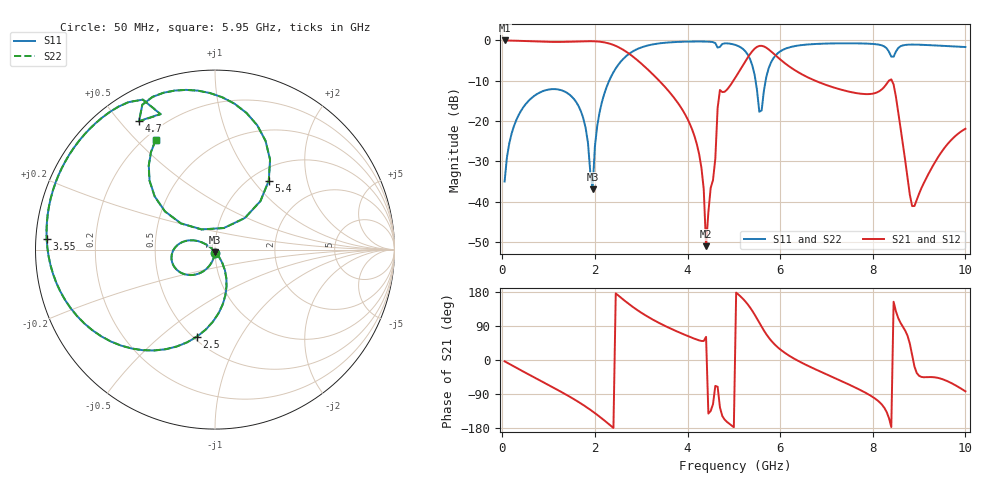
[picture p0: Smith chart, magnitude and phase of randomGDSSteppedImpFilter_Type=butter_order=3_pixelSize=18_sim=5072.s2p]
! freq	dB(S11)	phase(S11)	dB(S12)	phase(S12)
!  dB(S21)	phase(S21)	dB(S22)	phase(S22)
!S-par simulation data
#  GHz  S  DB  R 50
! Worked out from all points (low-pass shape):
!   200 points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, 50 MHz to 10 GHz, reference 50 ohm
!   highest |S21| = -0.01 dB at 50 MHz (marker M1); lowest = -51.1 dB at 4.4 GHz (marker M2)
!   |S21| within 3 dB of the highest: start of sweep to 2.702 GHz; 5.376 GHz to 5.833 GHz (456.1 MHz wide, 8.14 % of centre)
!   lowest |S11| = -36.9 dB at 1.95 GHz (marker M3), VSWR 1.03, Z = 50.1 - j1.42 ohm
!   |S11| at or under -10 dB: start of sweep to 2.308 GHz; 5.469 GHz to 5.686 GHz (217.8 MHz wide, 3.91 % of centre)
!   |S22| runs from -36.8 to -0.3 dB; largest |S21 - S12| = 0
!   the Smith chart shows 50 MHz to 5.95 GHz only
!   S11 on the Smith chart (normalised r, x): 50 MHz: 1.00, -0.04; 2.5 GHz: 0.52, -0.67; 3.55 GHz: 0.03, +0.03; 4.7 GHz: 0.12, +0.56; 5.4 GHz: 1.19, +1.21; 5.95 GHz: 0.24, +0.57
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0.05  -35.00 -93.0  -0.01 -3.4  -0.01 -3.4  -35.00 -93.0
0.25  -21.30 -107.2  -0.06 -16.9  -0.06 -16.9  -21.30 -107.1
0.65  -14.12 -133.8  -0.23 -43.4  -0.23 -43.4  -14.12 -133.8
1.75  -19.36 153.5  -0.22 -118.8  -0.22 -118.8  -19.34 153.8
1.95  -36.94 -84.8  -0.20 -135.7  -0.20 -135.7  -36.77 -86.4
2.1  -17.87 -64.4  -0.31 -149.4  -0.31 -149.4  -17.87 -64.6
2.5  -6.11 -101.7  -1.62 170.6  -1.62 170.6  -6.11 -101.7
3.4  -0.72 -174.6  -10.15 96.9  -10.15 96.9  -0.72 -174.6
3.55  -0.54 176.4  -12.02 87.8  -12.02 87.8  -0.54 176.4
4.2  -0.27 141.4  -25.71 53.9  -25.71 53.9  -0.27 141.4
4.35  -0.28 133.3  -36.94 50.2  -36.94 50.2  -0.28 133.2
4.4  -0.29 130.4  -51.06 61.1  -51.06 61.1  -0.29 130.4
4.7  -1.60 120.6  -12.30 -125.1  -12.30 -125.1  -1.61 120.7
5.05  -1.18 91.9  -8.91 177.8  -8.91 177.8  -1.18 91.9
5.4  -6.24 52.1  -2.65 129.5  -2.65 129.5  -6.24 52.1
5.55  -17.70 67.6  -1.36 98.3  -1.36 98.3  -17.73 67.5
5.95  -3.17 118.4  -4.20 33.2  -4.20 33.2  -3.17 118.5
6.7  -0.92 67.7  -9.71 -21.1  -9.71 -21.1  -0.92 67.8
7.7  -0.73 11.5  -13.17 -77.3  -13.17 -77.3  -0.73 11.8
8.35  -2.81 -35.6  -9.96 -153.3  -9.96 -153.3  -2.82 -35.4
8.85  -1.03 -55.0  -41.11 12.3  -41.11 12.3  -1.03 -54.5
10  -1.64 -161.0  -21.93 -82.6  -21.93 -82.6  -1.63 -159.9
